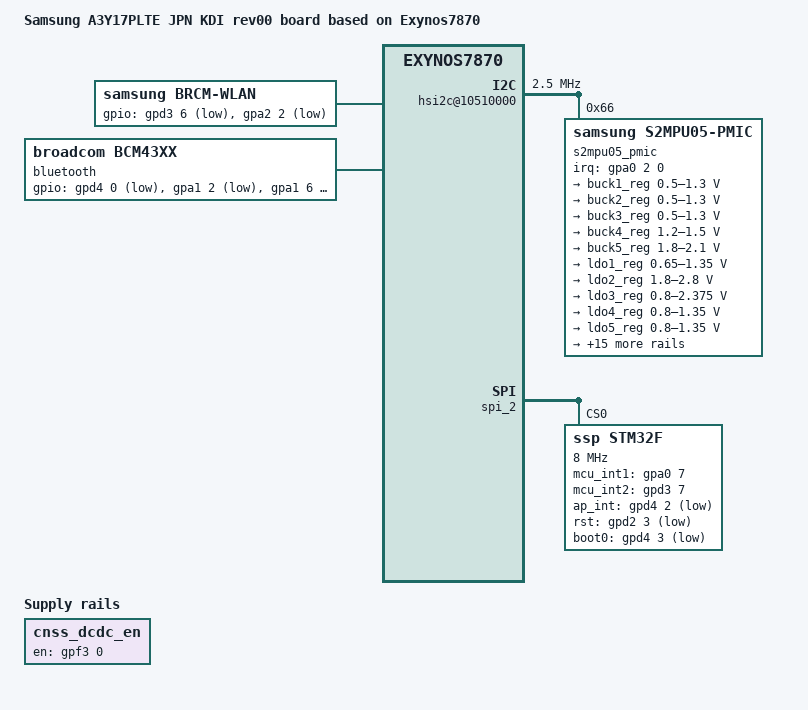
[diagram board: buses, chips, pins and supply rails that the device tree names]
/*
 * Copyright (c) 2016 Samsung Electronics Co., Ltd.
 *		http://www.samsung.com
 *
 * This program is free software; you can redistribute it and/or modify
 * it under the terms of the GNU General Public License version 2 as
 * published by the Free Software Foundation.
*/

/dts-v1/;
#include "modem-ss315ap-pdata.dtsi"
#include "exynos7870-a3y17plte_common.dtsi"
#include "exynos7870-a3y17plte_jpn_kdi_gpio_00.dtsi"
#include "exynos7870-a3y17plte_jpn_kdi_battery_00.dtsi"
#include "exynos7870-a3y17plte_fingerprint-sensor_00.dtsi"
#include "exynos7870-a3y17plte_jpn-isdbt-00.dtsi"
#include "exynos7870-a3y17plte_jpn_kdi_secnfc_tuner_r00.dtsi"

/ {
	model = "Samsung A3Y17PLTE JPN KDI rev00 board based on Exynos7870";
        model_info-chip = <7870>;
        model_info-platform = "android";
        model_info-subtype = "samsung";
        model_info-hw_rev = <0>;
        model_info-hw_rev_end = <255>;
	compatible = "samsung, A3Y17PLTE JPN KDI 00", "samsung,exynos7870";
	
		cnss_dcdc_en: cnss_dcdc_en {
		compatible = "regulator-fixed";
		regulator-name = "cnss_dcdc_en";
		startup-delay-us = <4000>;
		enable-active-high;
		gpio = <&gpf3 0 0>;
	};

	hsi2c@10510000 {
		status = "okay";
		samsung,hs-mode;
		clock-frequency = <2500000>;
		samsung,hsi2c-batcher;
		#address-cells = <1>;
		#size-cells = <0>;

		s2mpu05_pmic@66 {
			compatible = "samsung,s2mpu05-pmic";
			reg = <0x66>;
			ten-bit-address;
			interrupts = <2 0 0>;
			interrupt-parent = <&gpa0>;
			pinctrl-names = "default";
			pinctrl-0 = <&pmic_irq &pm_wrsti>;
			g3d_en = <1>; /* 1 : enable , 0 : disable */
			buck2en_pin = "etc1-3";
			buck2en_addr = "139B0080.pinctrl";
			/* RTC: wtsr/smpl */
			wtsr_en = <1>; /* enable */
			smpl_en = <1>; /* enable */
			wtsr_timer_val = <3>;   /* 1000ms */
			smpl_timer_val = <0>;   /* 100ms */
			check_jigon = <0>; /* do not check jigon */
			/* RTC: If it's first boot, reset rtc to 1/1/2016 12:00:00(Fri) */
			init_time,sec = <0>;
			init_time,min = <0>;
			init_time,hour = <12>;
			init_time,mday = <1>;
			init_time,mon = <0>;
			init_time,year = <116>;
			init_time,wday = <5>;

			regulators {
				buck1_reg: BUCK1 {
					regulator-name = "BUCK1";
					regulator-min-microvolt = <500000>;
					regulator-max-microvolt = <1300000>;
					regulator-always-on;
					regulator-boot-on;
					regulator-ramp-delay = <12000>;
					regulator-initial-mode = <1>;
					regulator-expected-consumer = <2>;
				};

				buck2_reg: BUCK2 {
					regulator-name = "BUCK2";
					regulator-min-microvolt = <500000>;
					regulator-max-microvolt = <1300000>;
					regulator-always-on;
					regulator-boot-on;
					regulator-ramp-delay = <12000>;
					regulator-initial-mode = <2>;		/* MIF mode */
					regulator-expected-consumer = <4>;
				};

				buck3_reg: BUCK3 {
					regulator-name = "BUCK3";
					regulator-min-microvolt = <500000>;
					regulator-max-microvolt = <1300000>;
					regulator-always-on;
					regulator-boot-on;
					regulator-ramp-delay = <12000>;
					regulator-initial-mode = <2>;
				};

				buck4_reg: BUCK4 {
					regulator-name = "BUCK4";
					regulator-min-microvolt = <1200000>;
					regulator-max-microvolt = <1500000>;
					regulator-always-on;
					regulator-boot-on;
					regulator-ramp-delay = <12000>;
					regulator-initial-mode = <2>;
				};

				buck5_reg: BUCK5 {
					regulator-name = "BUCK5";
					regulator-min-microvolt = <1800000>;
					regulator-max-microvolt = <2100000>;
					regulator-always-on;
					regulator-boot-on;
					regulator-ramp-delay = <12000>;
					regulator-initial-mode = <2>;
				};

				ldo1_reg: LDO1 {
					regulator-name = "vdd_ldo1";
					regulator-min-microvolt = <650000>;
					regulator-max-microvolt = <1350000>;
					regulator-always-on;
					regulator-boot-on;
					regulator-ramp-delay = <12000>;
					regulator-initial-mode = <3>;
				};

				ldo2_reg: LDO2 {
					regulator-name = "vqmmc";
					regulator-min-microvolt = <1800000>;
					regulator-max-microvolt = <2800000>;
					regulator-ramp-delay = <12000>;
					regulator-initial-mode = <0>;
				};

				ldo3_reg: LDO3 {
					regulator-name = "vdd_ldo3";
					regulator-min-microvolt = <800000>;
					regulator-max-microvolt = <2375000>;
					regulator-boot-on;
					regulator-always-on;
					regulator-ramp-delay = <12000>;
					regulator-initial-mode = <3>;
				};

				ldo4_reg: LDO4 {
					regulator-name = "vdd_ldo4";
					regulator-min-microvolt = <800000>;
					regulator-max-microvolt = <1350000>;
					regulator-boot-on;
					regulator-always-on;
					regulator-ramp-delay = <12000>;
					regulator-initial-mode = <1>;
				};

				ldo5_reg: LDO5 {
					regulator-name = "vdd_ldo5";
					regulator-min-microvolt = <800000>;
					regulator-max-microvolt = <1350000>;
					regulator-boot-on;
					regulator-always-on;
					regulator-ramp-delay = <12000>;
					regulator-initial-mode = <3>;
				};

				ldo6_reg: LDO6 {
					regulator-name = "vdd_ldo6";
					regulator-min-microvolt = <800000>;
					regulator-max-microvolt = <1350000>;
					regulator-boot-on;
					regulator-always-on;
					regulator-ramp-delay = <12000>;
					regulator-initial-mode = <1>;
				};

				ldo7_reg: LDO7 {
					regulator-name = "vdd_ldo7";
					regulator-min-microvolt = <800000>;
					regulator-max-microvolt = <2375000>;
					regulator-boot-on;
					regulator-always-on;
					regulator-ramp-delay = <12000>;
					regulator-initial-mode = <1>;
				};

				ldo8_reg: LDO8 {
					regulator-name = "vdd_ldo8";
					regulator-min-microvolt = <1800000>;
					regulator-max-microvolt = <3375000>;
					regulator-boot-on;
					regulator-always-on;
					regulator-ramp-delay = <12000>;
					regulator-initial-mode = <1>;
				};

				ldo9_reg: LDO9 {
					regulator-name = "vdd_ldo9";
					regulator-min-microvolt = <650000>;
					regulator-max-microvolt = <1350000>;
					regulator-always-on;
					regulator-ramp-delay = <12000>;
					regulator-initial-mode = <1>;
				};

				ldo10_reg: LDO10 {
					regulator-name = "vdd_ldo10";
					regulator-min-microvolt = <650000>;
					regulator-max-microvolt = <1350000>;
					regulator-always-on;
					regulator-ramp-delay = <12000>;
					regulator-initial-mode = <1>;
				};

				ldo25_reg: LDO25 {
					regulator-name = "vdd_ldo25";
					regulator-min-microvolt = <800000>;
					regulator-max-microvolt = <2375000>;
					regulator-ramp-delay = <12000>;
					regulator-initial-mode = <1>;
				};

				ldo26_reg: LDO26 {
					regulator-name = "vemmc";
					regulator-min-microvolt = <1800000>;
					regulator-max-microvolt = <3375000>;
					regulator-boot-on;
					regulator-ramp-delay = <12000>;
					regulator-initial-mode = <3>;
				};

				ldo27_reg: LDO27 {
					regulator-name = "vqemmc";
					regulator-min-microvolt = <800000>;
					regulator-max-microvolt = <2375000>;
					regulator-boot-on;
					regulator-ramp-delay = <12000>;
					regulator-initial-mode = <3>;
				};

				ldo29_reg: LDO29 {
					regulator-name = "LCD_3P0";
					regulator-min-microvolt = <3000000>;
					regulator-max-microvolt = <3000000>;
					regulator-boot-on;
					regulator-ramp-delay = <12000>;
					regulator-initial-mode = <3>;
				};

				ldo30_reg: LDO30 {
					regulator-name = "LCD_1P8";
					regulator-min-microvolt = <1800000>;
					regulator-max-microvolt = <1800000>;
					regulator-boot-on;
					regulator-ramp-delay = <12000>;
					regulator-initial-mode = <3>;
				};

				ldo31_reg: LDO31 {
					regulator-name = "vdd_ldo31";
					regulator-min-microvolt = <2950000>;
					regulator-max-microvolt = <2950000>;
					regulator-boot-on;
					regulator-always-on;
					regulator-ramp-delay = <12000>;
					regulator-initial-mode = <1>;
				};

				ldo32_reg: LDO32 {
					regulator-name = "VDD_MOTOR_3.3";
					regulator-min-microvolt = <3300000>;
					regulator-max-microvolt = <3300000>;
					regulator-ramp-delay = <12000>;
				};

				ldo33_reg: LDO33 {
					regulator-name = "vtouch_3.3v";
					regulator-min-microvolt = <3300000>;
					regulator-max-microvolt = <3300000>;
				};

				ldo34_reg: LDO34 {
					regulator-name = "tsp_avdd";
					regulator-min-microvolt = <3300000>;
					regulator-max-microvolt = <3300000>;
					regulator-boot-on;
				};

				ldo35_reg: LDO35 {
					regulator-name = "VDDIO_1.8V_CAM";
					regulator-min-microvolt = <1800000>;
					regulator-max-microvolt = <1800000>;
					regulator-initial-mode = <0>;
				};
			};
		};
	};

	wlan {
		compatible = "samsung,brcm-wlan";
		gpios = <&gpd3 6 0x1 /* WLAN_EN */
			&gpa2 2 0x1>; /* WLAN_HOST_WAKE */
		pinctrl-names = "default";
		pinctrl-0 = <&cfg_wlanen &cfg_wlanhostwake>;
		status = "okay";
	};

	pinctrl@13750000 {
		sd1_bus1: sd1-bus-width1 {
			samsung,pin-pud = <3>;
		};

		sd1_bus4: sd1-bus-width4 {
			samsung,pin-pud = <3>;
		};
	};
	
	bluetooth {
		compatible = "broadcom,bcm43xx";
		gpios = <&gpd4 0 0x1	/*BT_EN*/
                         &gpa1 2 0x1	/*BT_WAKE*/
                         &gpa1 6 0xF	/*BT_HOST_WAKE*/ >;
		pinctrl-names = "default";
		pinctrl-0=<&bt_hostwake &bt_btwake &bt_en>;
		fm-lna-en = <&gpd3 7 1>;
		status = "okay";
	};

	pinctrl@139B0000 {
		vibetonz_pwm: vibetonz_pwm {
			samsung,pins = "gpc0-1";
			samsung,pin-function = <2>; 
			samsung,pin-pud = <1>; 
			samsung,pin-drv = <0>; 
		};
		
		leden_gpio: leden_gpio {
			samsung,pins = "gpd4-6";
			samsung,pin-function = <1>;
			samsung,pin-pud = <0>;
			samsung,pin-val = <0>;
		};
	};

	/* SENSORHUB */
    spi_2: spi@13930000 {
        #address-cells = <1>;
        #size-cells = <0>;

        pinctrl-names = "default";
        pinctrl-0 = <&spi2_mosi_sck_ssn &spi2_miso>;

        num-cs = <1>;
        status = "okay";

		STM32F@0 {
			compatible = "ssp,STM32F";
			reg = <0>;
			spi-max-frequency = <8000000>;
			spi-cpol;
			spi-cpha;
			pinctrl-names = "default";
			pinctrl-0 = <&ssp_rst &ssp_ap_int &ssp_mcu_int1 &ssp_mcu_int2 &ssp_boot0>;

			gpio-controller;
			#gpio-cells = <2>;
			ssp,mcu_int1-gpio = <&gpa0 7 0x00>;
			ssp,mcu_int2-gpio = <&gpd3 7 0x00>;
			ssp,ap_int-gpio = <&gpd4 2 0x01>;
			ssp,rst-gpio = <&gpd2 3 0x01>;
			ssp,boot0-gpio = <&gpd4 3 0x1>;
			ssp,acc-position = <7>;
			ssp,mag-position = <5>;
			ssp-sns-combination = <0>;
			ssp,prox-hi_thresh = <55>;
			ssp,prox-low_thresh = <40>;
			ssp,prox-detect_hi_thresh = <250>;
			ssp,prox-detect_low_thresh = <130>;
			ssp-ap-rev = <1>;
			ssp-mag-array = /bits/ 8 <250 84 150 111 66 88 255 139 217 55
						186 161 255 179 255 179 255 203 254 155
						188 253 44 193 9 5 114>;
			ssp-mag-type = <1>;
			ssp-acc-type = <1>;
			ssp-pressure-type = <1>;


            controller-data {
                cs-gpio = <&gpc4 3 0>;
                samsung,spi-feedback-delay = <0>;
			};
        };
	};
	
	isa1000 {
		compatible = "isa1000";
		pinctrl-names = "default";
		pinctrl-0 = <&vibetonz_pwm>;
		isa1000_pdata {
			status = "okay";
			isa1000,max_timeout = <10000>;
			isa1000,pwm_use = <1>;
			isa1000,duty = <34290>;
			isa1000,period = <38100>;
			isa1000,pwm_id = <0>;
			isa1000,gpio_en = <&gpd2 0 0>;
			isa1000,regulator_name = "VDD_MOTOR_3.3";
		};
	};
};
